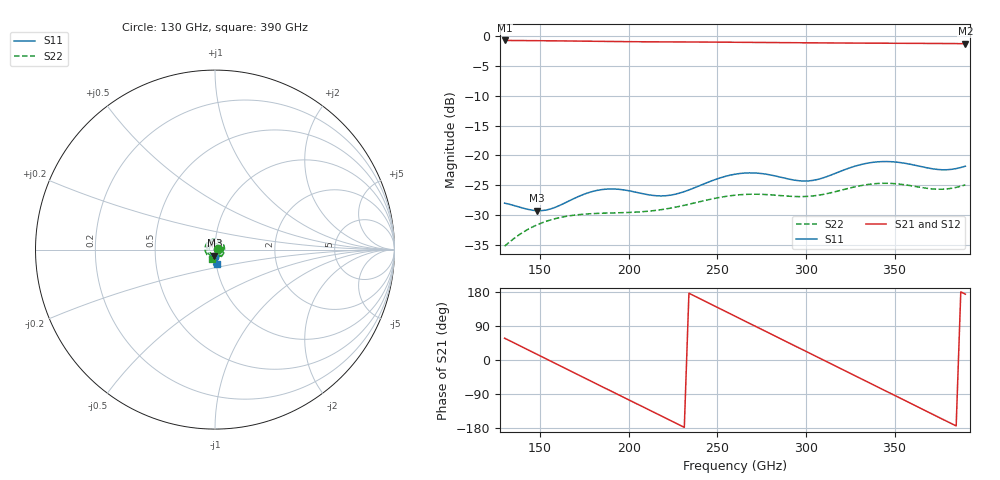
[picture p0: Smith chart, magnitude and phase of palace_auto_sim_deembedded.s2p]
! Created with skrf 1.11.0 (http://scikit-rf.org).
# GHz S DB R 50.0
!freq dBS11 angS11 dBS21 angS21 dBS12 angS12 dBS22 angS22
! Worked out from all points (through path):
!   101 points, 130 GHz to 390 GHz, reference 50 ohm
!   highest |S21| = -0.79 dB at 130 GHz (marker M1); lowest = -1.3 dB at 390 GHz (marker M2)
!   group delay of S21, straight-line fit = 6.45 ps
!   lowest |S11| = -29.2 dB at 148.2 GHz (marker M3), VSWR 1.07, Z = 49.5 - j3.42 ohm
!   |S11| at or under -10 dB: start of sweep to end of sweep
!   |S22| runs from -35.1 to -24.6 dB; largest |S21 - S12| = 1.6e-14
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130  -27.96 -99.1  -0.79 57.4  -0.79 57.4  -35.14 12.6
148.2  -29.22 -95.6  -0.83 15.2  -0.83 15.2  -31.59 -65.3
161.2  -28.32 -85.8  -0.86 -15.0  -0.86 -15.0  -30.36 -118.3
174.2  -26.54 -85.7  -0.90 -45.3  -0.90 -45.3  -29.81 -173.1
184.6  -25.70 -90.9  -0.94 -69.4  -0.94 -69.4  -29.65 141.1
195  -25.66 -96.4  -0.97 -93.5  -0.97 -93.5  -29.56 93.3
205.4  -26.22 -98.2  -1.00 -117.5  -1.00 -117.5  -29.43 43.7
218.4  -26.75 -92.7  -1.03 -147.6  -1.03 -147.6  -29.04 -20.3
228.8  -26.27 -85.8  -1.04 -171.7  -1.04 -171.7  -28.49 -71.6
239.2  -25.14 -82.0  -1.05 164.1  -1.05 164.1  -27.78 -121.3
260  -23.12 -87.4  -1.09 115.7  -1.09 115.7  -26.63 145.1
270.4  -22.91 -92.8  -1.12 91.6  -1.12 91.6  -26.46 99.5
280.8  -23.30 -96.5  -1.14 67.4  -1.14 67.4  -26.58 53.0
293.8  -24.13 -94.4  -1.17 37.2  -1.17 37.2  -26.85 -8.5
304.2  -24.15 -87.4  -1.19 13.1  -1.19 13.1  -26.75 -60.2
314.6  -23.22 -82.0  -1.21 -11.0  -1.21 -11.0  -26.19 -111.5
325  -22.04 -82.1  -1.22 -35.1  -1.22 -35.1  -25.42 -160.3
338  -21.13 -87.2  -1.24 -65.3  -1.24 -65.3  -24.73 142.0
348.4  -21.04 -92.1  -1.26 -89.5  -1.26 -89.5  -24.67 96.6
358.8  -21.46 -95.1  -1.27 -113.6  -1.27 -113.6  -25.03 49.6
371.8  -22.24 -93.0  -1.29 -143.9  -1.29 -143.9  -25.59 -14.2
390  -21.78 -82.2  -1.32 173.8  -1.32 173.8  -24.90 -108.4
